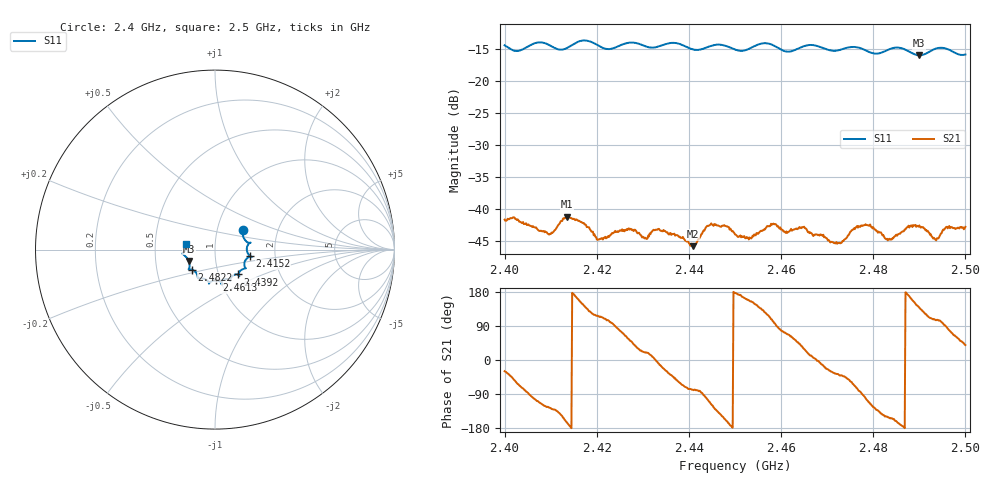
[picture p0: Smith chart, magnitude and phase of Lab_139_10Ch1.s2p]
# Hz S RI R 50
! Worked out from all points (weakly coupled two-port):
!   601 points, 2.4 GHz to 2.5 GHz, reference 50 ohm
!   highest |S21| = -41.21 dB at 2.4135 GHz (marker M1); lowest = -45.8 dB at 2.4408 GHz (marker M2)
!   lowest |S11| = -15.9 dB at 2.49 GHz (marker M3), VSWR 1.38, Z = 36.9 - j4.85 ohm
!   |S11| at or under -10 dB: start of sweep to end of sweep
!   S12 and S22 are empty: the file has one direction only
!   S11 on the Smith chart (normalised r, x): 2.4 GHz: 1.33, +0.31; 2.4152 GHz: 1.48, -0.11; 2.4392 GHz: 1.24, -0.36; 2.4613 GHz: 0.96, -0.34; 2.4822 GHz: 0.76, -0.17; 2.5 GHz: 0.72, +0.05
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2.4e9  0.1562 0.1113  0.00718 -0.00406  0 0  0 0
2.409833e9  0.1884 0.0331  -0.00378 -0.00513  0 0  0 0
2.4135e9  0.1814 -0.0175  -0.00838 -0.00234  0 0  0 0
2.415167e9  0.1943 -0.0362  -0.0082 0.00124  0 0  0 0
2.416667e9  0.204 -0.0419  -0.00689 0.00391  0 0  0 0
2.4205e9  0.184 -0.0442  -0.00243 0.00524  0 0  0 0
2.433333e9  0.1331 -0.1319  0.00689 -0.00105  0 0  0 0
2.439167e9  0.1274 -0.1386  0.00184 -0.00536  0 0  0 0
2.440833e9  0.1113 -0.139  0.00103 -0.00501  0 0  0 0
2.4445e9  0.0849 -0.1678  -0.00266 -0.00696  0 0  0 0
2.45e9  0.0688 -0.1639  -0.00631 0.000318  0 0  0 0
2.453167e9  0.0376 -0.1768  -0.00546 0.00243  0 0  0 0
2.458333e9  0.0375 -0.1878  -0.00149 0.00753  0 0  0 0
2.461333e9  0.00715 -0.1707  0.00242 0.00602  0 0  0 0
2.466667e9  -0.0336 -0.1898  0.00632 0.00111  0 0  0 0
2.472667e9  -0.0735 -0.1599  0.00413 -0.00352  0 0  0 0
2.478833e9  -0.0995 -0.14  -0.00231 -0.0071  0 0  0 0
2.482167e9  -0.1279 -0.1116  -0.00512 -0.00361  0 0  0 0
2.483333e9  -0.139 -0.1103  -0.00506 -0.00278  0 0  0 0
2.49e9  -0.1465 -0.064  -0.00553 0.00496  0 0  0 0
2.4935e9  -0.1784 -0.0259  -0.0015 0.00555  0 0  0 0
2.5e9  -0.1591 0.0328  0.00559 0.0046  0 0  0 0
